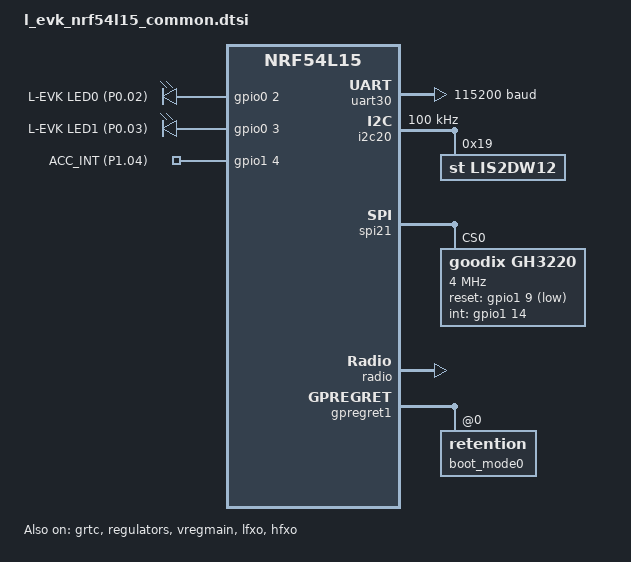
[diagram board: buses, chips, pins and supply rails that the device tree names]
/* SPDX-License-Identifier: Apache-2.0 */

#include "l_evk_nrf54l15-pinctrl.dtsi"
#include <zephyr/dt-bindings/gpio/gpio.h>
#include <zephyr/dt-bindings/i2c/i2c.h>

/ {
	chosen {
		zephyr,console = &uart30;
		zephyr,shell-uart = &uart30;
		zephyr,flash-controller = &rram_controller;
		zephyr,flash = &cpuapp_rram;
		zephyr,boot-mode = &boot_mode0;
	};

	l_evk_leds: leds {
		compatible = "gpio-leds";

		l_evk_led0: led_0 {
			gpios = <&gpio0 2 GPIO_ACTIVE_HIGH>;
			label = "L-EVK LED0 (P0.02)";
		};

		l_evk_led1: led_1 {
			gpios = <&gpio0 3 GPIO_ACTIVE_HIGH>;
			label = "L-EVK LED1 (P0.03)";
		};
	};

	l_evk_imu_controls {
		compatible = "gpio-keys";

		l_evk_imu_int: imu_int {
			gpios = <&gpio1 4 GPIO_ACTIVE_HIGH>;
			label = "ACC_INT (P1.04)";
		};
	};

	aliases {
		led0 = &l_evk_led0;
		led1 = &l_evk_led1;
		watchdog0 = &wdt30;
	};
};

&cpuapp_sram {
	status = "okay";
};

&grtc {
	owned-channels = <0 1 2 3 4 5 6 7 8 9 10 11>;
	child-owned-channels = <3 4 7 8 9 10 11>;
	status = "okay";
};

&regulators {
	status = "okay";
};

&vregmain {
	status = "okay";
	regulator-initial-mode = <NRF5X_REG_MODE_DCDC>;
};

&lfxo {
	status = "okay";
	load-capacitors = "internal";
	load-capacitance-femtofarad = <17000>;
};

&hfxo {
	status = "okay";
	load-capacitors = "internal";
	load-capacitance-femtofarad = <15000>;
};

&clock {
	status = "okay";
};

&gpio0 {
	status = "okay";
};

&gpio1 {
	status = "okay";
};

&gpiote20 {
	status = "okay";
};

&gpiote30 {
	status = "okay";
};

&uart30 {
	status = "okay";
	current-speed = <115200>;
	pinctrl-0 = <&uart30_default>;
	pinctrl-1 = <&uart30_sleep>;
	pinctrl-names = "default", "sleep";
};

&i2c20 {
	status = "okay";
	compatible = "nordic,nrf-twim";
	clock-frequency = <I2C_BITRATE_STANDARD>;
	pinctrl-0 = <&i2c20_default>;
	pinctrl-1 = <&i2c20_sleep>;
	pinctrl-names = "default", "sleep";

	lis2dw12: lis2dw12@19 {
		compatible = "st,lis2dw12";
		reg = <0x19>;
		status = "okay";
	};
};

&spi21 {
	status = "okay";
	pinctrl-0 = <&spi21_default>;
	pinctrl-1 = <&spi21_sleep>;
	pinctrl-names = "default", "sleep";

	gh3220: gh3220@0 {
		compatible = "goodix,gh3220";
		reg = <0>;
		spi-max-frequency = <4000000>;
		cs-gpios = <&gpio1 11 GPIO_ACTIVE_LOW>;
		reset-gpios = <&gpio1 9 GPIO_ACTIVE_LOW>;
		int-gpios = <&gpio1 14 GPIO_ACTIVE_HIGH>;
		status = "okay";
	};
};

&nfct {
	status = "disabled";
};

&radio {
	status = "okay";
};

&gpregret1 {
	status = "okay";

	boot_mode0: boot_mode@0 {
		compatible = "zephyr,retention";
		status = "okay";
		reg = <0x0 0x1>;
	};
};
